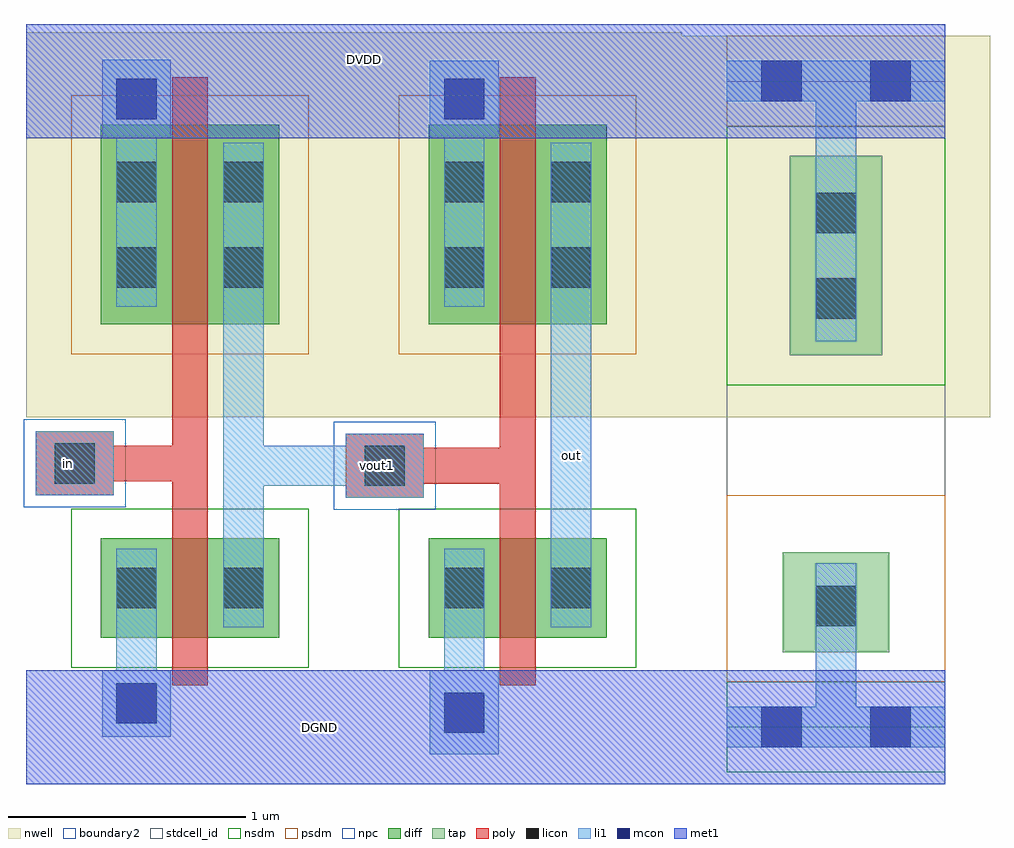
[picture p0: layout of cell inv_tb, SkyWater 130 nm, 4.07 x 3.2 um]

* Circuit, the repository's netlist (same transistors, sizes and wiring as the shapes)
** sch_path: /home/joyen/ee5311/EE5311/assignments/assignment4/inv_tb.sch
.subckt inv_tb DVDD out in DGND vout1
*.PININFO DGND:B in:I out:O DVDD:B vout1:O
x1 DVDD in vout1 DGND inv
x2 DVDD vout1 out DGND inv
.ends

* expanding   symbol:  inv.sym # of pins=8
** sym_path: /home/joyen/ee5311/EE5311/assignments/assignment4/inv.sym
** sch_path: /home/joyen/ee5311/EE5311/assignments/assignment4/inv.sch
.subckt inv DVDD in out DGND
*.PININFO in:I out:O DVDD:B DGND:B
XM3 out in DVDD DVDD sky130_fd_pr__pfet_01v8 L=0.15 W=0.84 nf=1
XM2 out in DGND DGND sky130_fd_pr__nfet_01v8 L=0.15 W=0.42 nf=1
.ends

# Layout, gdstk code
import gdstk
lib = gdstk.Library(unit=1e-6, precision=1e-09)
def R(c, l, rs):  # rectangles x0, y0, x1, y1
    for r in rs: c.add(gdstk.rectangle(r[:2], r[2:], *l))
nwell = (64, 20)
diff = (65, 20)
tap = (65, 44)
poly = (66, 20)
licon = (66, 44)
li1 = (67, 20)
mcon = (67, 44)
met1 = (68, 20)
stdcell_id = (81, 4)
nsdm = (93, 44)
psdm = (94, 20)
npc = (95, 20)
boundary2 = (236, 0)

tap_ = lib.new_cell('tap')
R(tap_, nwell, [(-0.19,1.305,1.11,2.91)])
R(tap_, tap, [(0.235,0.315,0.685,0.735), (0.265,1.565,0.655,2.405)])
R(tap_, licon, [(0.375,0.425,0.545,0.595), (0.375,1.72,0.545,1.89), (0.375,2.08,0.545,2.25)])
R(tap_, li1, [(0,-0.085,0.92,0.085), (0.375,0,0.545,0.69), (0.375,1.625,0.545,2.72), (0,2.635,0.92,2.805)])
R(tap_, mcon, [(0.145,-0.085,0.315,0.085), (0.605,-0.085,0.775,0.085), (0.145,2.635,0.315,2.805), (0.605,2.635,0.775,2.805)])
R(tap_, met1, [(0,-0.24,0.92,0.24), (0,2.48,0.92,2.96)])
R(tap_, stdcell_id, [(0,0,0.92,2.72)])
R(tap_, nsdm, [(0,-0.19,0.92,0.19), (0,1.44,0.92,2.53)])
R(tap_, psdm, [(0,0.19,0.92,0.975), (0,2.53,0.92,2.91)])
R(tap_, boundary2, [(0,0,0.92,2.72)])
tap_.add(gdstk.Label('tap', (0,0), layer=83, texttype=44))

pfet = lib.new_cell('pfet')
R(pfet, nwell, [(-0.315,-0.39,1.065,1.23)])
R(pfet, diff, [(0,0,0.75,0.84)])
R(pfet, poly, [(0.3,-0.2,0.45,1.04)])
R(pfet, licon, [(0.065,0.155,0.235,0.325), (0.515,0.155,0.685,0.325), (0.065,0.515,0.235,0.685), (0.515,0.515,0.685,0.685)])
R(pfet, li1, [(0.065,0.075,0.235,0.765), (0.515,0.075,0.685,0.765)])
R(pfet, psdm, [(-0.125,-0.125,0.875,0.965)])

nfet = lib.new_cell('nfet')
R(nfet, diff, [(0,0,0.75,0.42)])
R(nfet, poly, [(0.3,-0.2,0.45,0.62)])
R(nfet, licon, [(0.065,0.125,0.235,0.295), (0.515,0.125,0.685,0.295)])
R(nfet, li1, [(0.065,0.045,0.235,0.375), (0.515,0.045,0.685,0.375)])
R(nfet, nsdm, [(-0.125,-0.125,0.875,0.545)])

vias_gen = lib.new_cell('vias_gen')
R(vias_gen, li1, [(0,0,0.29,0.325)])
R(vias_gen, mcon, [(0.06,0.08,0.23,0.25)])
R(vias_gen, met1, [(0,0,0.29,0.325)])

vias_gen_1 = lib.new_cell('vias_gen$1')
R(vias_gen_1, li1, [(0,0,0.29,0.355)])
R(vias_gen_1, mcon, [(0.06,0.09,0.23,0.26)])
R(vias_gen_1, met1, [(0,0,0.29,0.355)])

vias_gen_2 = lib.new_cell('vias_gen$2')
R(vias_gen_2, li1, [(0,0,0.29,0.33)])
R(vias_gen_2, mcon, [(0.06,0.08,0.23,0.25)])
R(vias_gen_2, met1, [(0,0,0.29,0.33)])

vias_gen_3 = lib.new_cell('vias_gen$3')
R(vias_gen_3, li1, [(0,0,0.29,0.28)])
R(vias_gen_3, mcon, [(0.06,0.055,0.23,0.225)])
R(vias_gen_3, met1, [(0,0,0.29,0.28)])

vias_gen_4 = lib.new_cell('vias_gen$4')
R(vias_gen_4, poly, [(0,0,0.33,0.27)])
R(vias_gen_4, licon, [(0.08,0.05,0.25,0.22)])
R(vias_gen_4, li1, [(0,0,0.33,0.27)])
R(vias_gen_4, npc, [(-0.05,-0.05,0.38,0.32)])

inv_tb = lib.new_cell('inv_tb')
inv_tb.add(gdstk.FlexPath([(-0.69,1.745),(-0.69,1.325),(-0.69,1.125)], 0.15, ends="flush", simple_path=True, layer=66, datatype=20))  # poly
inv_tb.add(gdstk.FlexPath([(-2.07,1.745),(-2.07,1.135)], 0.15, ends="flush", simple_path=True, layer=66, datatype=20))  # poly
inv_tb.add(gdstk.FlexPath([(-0.765,1.35),(-1.335,1.35)], 0.15, ends="flush", simple_path=True, layer=66, datatype=20))  # poly
inv_tb.add(gdstk.FlexPath([(-2.145,1.36),(-2.645,1.36)], 0.15, ends="flush", simple_path=True, layer=66, datatype=20))  # poly
inv_tb.add(gdstk.FlexPath([(-0.465,2.02),(-0.465,1),(-0.55,1),(-0.55,1),(-0.55,1)], 0.17, ends="flush", simple_path=True, layer=67, datatype=20))  # li1
inv_tb.add(gdstk.FlexPath([(-0.915,0.67),(-0.915,0.135)], 0.17, ends="flush", simple_path=True, layer=67, datatype=20))  # li1
inv_tb.add(gdstk.FlexPath([(-0.915,2.71),(-0.915,3.055)], 0.17, ends="flush", simple_path=True, layer=67, datatype=20))  # li1
inv_tb.add(gdstk.FlexPath([(-2.295,2.71),(-2.295,3.06)], 0.17, ends="flush", simple_path=True, layer=67, datatype=20))  # li1
inv_tb.add(gdstk.FlexPath([(-2.295,0.67),(-2.295,0.21)], 0.17, ends="flush", simple_path=True, layer=67, datatype=20))  # li1
inv_tb.add(gdstk.FlexPath([(-1.845,2.02),(-1.845,1)], 0.17, ends="flush", simple_path=True, layer=67, datatype=20))  # li1
inv_tb.add(gdstk.FlexPath([(-1.76,1.35),(-1.165,1.35)], 0.17, ends="flush", simple_path=True, layer=67, datatype=20))  # li1
inv_tb.add(gdstk.FlexPath([(0.19,2.97),(-2.76,2.97)], 0.48, ends="flush", simple_path=True, layer=68, datatype=20))  # met1
inv_tb.add(gdstk.FlexPath([(0.19,0.25),(-2.76,0.25)], 0.48, ends="flush", simple_path=True, layer=68, datatype=20))  # met1
inv_tb.add(gdstk.Reference(tap_, (0.19,0.25)))
inv_tb.add(gdstk.Reference(pfet, (-1.065,1.945)))
inv_tb.add(gdstk.Reference(nfet, (-1.065,0.625)))
inv_tb.add(gdstk.Reference(vias_gen, (-1.06,2.73)))
inv_tb.add(gdstk.Reference(vias_gen_1, (-1.06,0.135)))
inv_tb.add(gdstk.Reference(pfet, (-2.445,1.945)))
inv_tb.add(gdstk.Reference(vias_gen_2, (-2.44,2.73)))
inv_tb.add(gdstk.Reference(nfet, (-2.445,0.625)))
inv_tb.add(gdstk.Reference(vias_gen_3, (-2.44,0.21)))
inv_tb.add(gdstk.Reference(vias_gen_4, (-1.415,1.215)))
inv_tb.add(gdstk.Reference(vias_gen_4, (-2.72,1.225)))
inv_tb.add(gdstk.Label('out', (-0.465,1.395), layer=67, texttype=5))
inv_tb.add(gdstk.Label('in', (-2.58,1.36), layer=67, texttype=5))
inv_tb.add(gdstk.Label('vout1', (-1.28,1.35), layer=67, texttype=5))
inv_tb.add(gdstk.Label('DGND', (-1.525,0.25), layer=68, texttype=5))
inv_tb.add(gdstk.Label('DVDD', (-1.335,3.06), layer=68, texttype=5))

lib.write_gds('inv_tb.gds')
